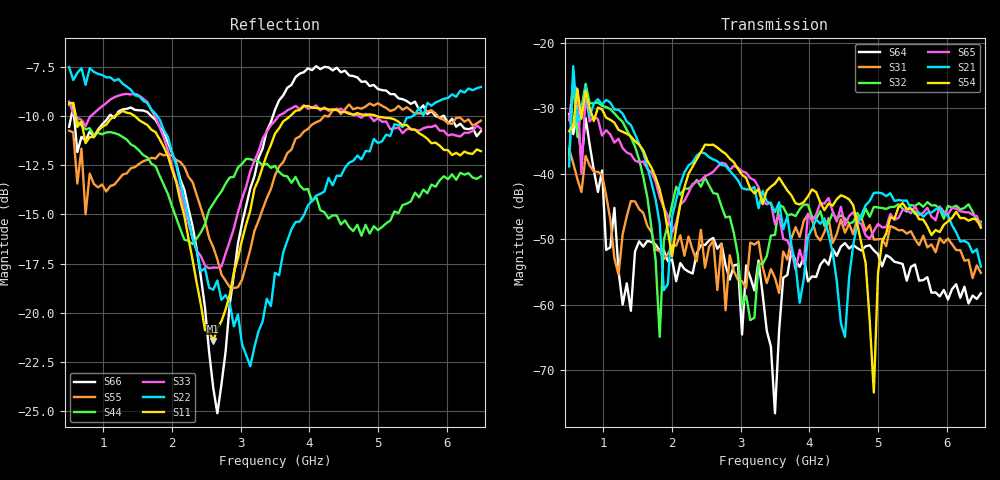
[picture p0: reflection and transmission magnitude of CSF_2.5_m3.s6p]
!Keysight Technologies,M9804A,MY58100912,A.14.10.03
!Date: Thursday, April 27, 2023 10:28:33
!Correction: S11(C  6-Port  )
!S12(C  6-Port  )
!S13(C  6-Port  )
!S14(C  6-Port  )
!S15(C  6-Port  )
!S16(C  6-Port  )
!S21(C  6-Port  )
!S22(C  6-Port  )
!S23(C  6-Port  )
!S24(C  6-Port  )
!S25(C  6-Port  )
!S26(C  6-Port  )
!S31(C  6-Port  )
!S32(C  6-Port  )
!S33(C  6-Port  )
!S34(C  6-Port  )
!S35(C  6-Port  )
!S36(C  6-Port  )
!S41(C  6-Port  )
!S42(C  6-Port  )
!S43(C  6-Port  )
!S44(C  6-Port  )
!S45(C  6-Port  )
!S46(C  6-Port  )
!S51(C  6-Port  )
!S52(C  6-Port  )
!S53(C  6-Port  )
!S54(C  6-Port  )
!S55(C  6-Port  )
!S56(C  6-Port  )
!S61(C  6-Port  )
!S62(C  6-Port  )
!S63(C  6-Port  )
!S64(C  6-Port  )
!S65(C  6-Port  )
!S66(C  6-Port  )
!S6P File: Measurement: :
# Hz S  RI  R 50
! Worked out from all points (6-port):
!   101 points, 500 MHz to 6.5 GHz, reference 50 ohm
!   strongest paths, dB at 500 MHz, 2 GHz, 3.5 GHz, 5 GHz, 6.5 GHz:
!     S54: -33.5, -52.6, -41.5, -55.3, -48.2
!     S21: -38.9, -46.6, -45.8, -42.9, -54.2
!     S65: -31.8, -49.0, -47.7, -47.7, -47.8
!     S32: -37.8, -44.8, -49.3, -45.1, -47.3
!     S31: -36.2, -50.9, -55.9, -50.0, -55.1
!     S64: -30.9, -53.1, -76.5, -52.3, -58.2
!   lowest |S11| = -21.4 dB at 2.6 GHz (marker M1), VSWR 1.19, Z = 42.5 + j2.27 ohm
!   |S11| at or under -10 dB: 593.7 MHz to 1.157 GHz (563.3 MHz wide, 64.4 % of centre); 1.463 GHz to 3.715 GHz (2.253 GHz wide, 87 % of centre); 4.989 GHz to end of sweep
